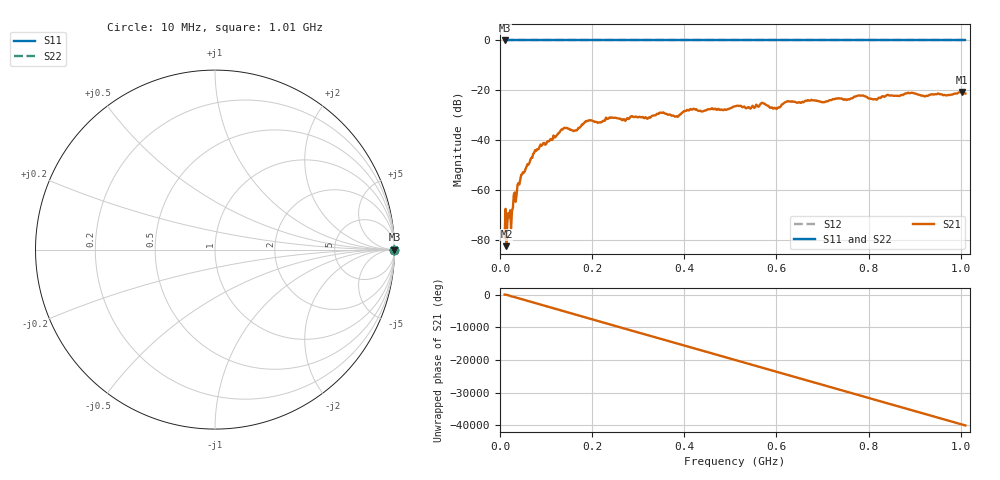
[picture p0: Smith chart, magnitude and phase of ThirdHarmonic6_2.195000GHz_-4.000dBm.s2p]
! 8/17/2025 2:09:52 AM
! C:\ANRITSUVNA\TEMP\TEMP.S2P
! CHANNEL.1
! TR.MEASUREMENT
! RAW.DATA
! RF.CORRECTION.OFF
! AVERAGING.OFF
! IF.BANDWIDTH: 5KHZ
! SWEEPTYPE:  FREQ.SWEEP(Linear)
! Reference Plane Port Info
! PORT:  PORT1  PORT2
! DISTANCE:  0  m  0  m
! TIME:  0  s  0  s
! PHASE.OFFSET:  0  deg.  0  deg.
! LOSS:  0  dB  0  dB
! REF.LOSS:  0  dB  0  dB
! REF.FREQ:  0  Hz  0  Hz
! Power Info
! POWER:  -20  dBm  -20  dBm
! EFF.POWER:  -20  dBm  -20  dBm
! SOURCE.ATTEN:  0  dB  0  dB
! TEST.ATTEN:  0  dB  0  dB
# GHZ S RI R 50.0
! FREQ.GHZ  S11RE  S11IM  S21RE  S21IM  S12RE  S12IM  S22RE  S22IM
!; PortSelection: Port_12
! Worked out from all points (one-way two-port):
!   501 points, 10 MHz to 1.01 GHz, reference 50 ohm
!   highest |S21| = -20.73 dB at 1.002 GHz (marker M1); lowest = -82.6 dB at 14 MHz (marker M2)
!   lowest |S11| = 0.0 dB at 10 MHz (marker M3)
!   |S11| at or under -10 dB: nowhere
!   |S22| runs from 0.0 to 0.0 dB; largest |S21 - S12| = 1.1
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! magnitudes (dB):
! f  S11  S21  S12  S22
! 10 MHz  0.0  -79.2  0.0  0.0
! 14 MHz  0.0  -82.6  0.0  0.0
! 24 MHz  0.0  -75.5  0.0  0.0
! 42 MHz  0.0  -57.8  0.0  0.0
! 76 MHz  0.0  -44.1  0.0  0.0
! 136 MHz  0.0  -35.7  0.0  0.0
! 164 MHz  0.0  -36.1  0.0  0.0
! 178 MHz  0.0  -33.7  0.0  0.0
! 194 MHz  0.0  -32.0  0.0  0.0
! 322 MHz  0.0  -31.1  0.0  0.0
! 344 MHz  0.0  -29.5  0.0  0.0
! 382 MHz  0.0  -30.5  0.0  0.0
! 416 MHz  0.0  -27.8  0.0  0.0
! 510 MHz  0.0  -26.5  0.0  0.0
! 570 MHz  0.0  -25.1  0.0  0.0
! 598 MHz  0.0  -27.2  0.0  0.0
! 624 MHz  0.0  -24.4  0.0  0.0
! 678 MHz  0.0  -24.0  0.0  0.0
! 814 MHz  0.0  -23.5  0.0  0.0
! 844 MHz  0.0  -22.0  0.0  0.0
! 1.002 GHz  0.0  -20.7  0.0  0.0
! 1.01 GHz  0.0  -21.3  0.0  0.0
